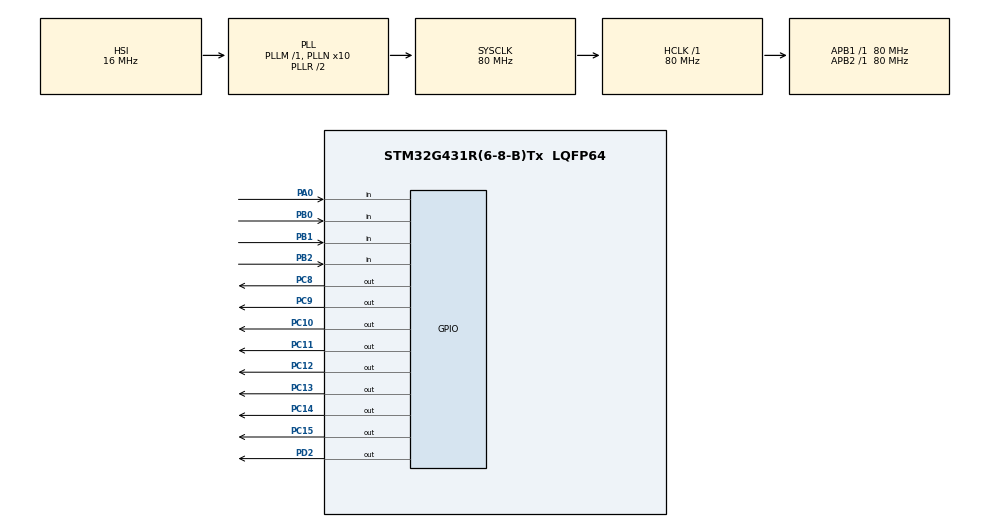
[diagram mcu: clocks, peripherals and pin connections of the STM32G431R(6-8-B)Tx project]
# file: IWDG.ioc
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IWDG.Prescaler=IWDG_PRESCALER_32
IWDG.Reload=4000
IWDG.Window=3000
Mcu.Family=STM32G4
Mcu.Name=STM32G431R(6-8-B)Tx
Mcu.Package=LQFP64
NVIC.PriorityGroup=NVIC_PRIORITYGROUP_4
NVIC.TIM6_DAC_IRQn=true\:0\:0\:false\:false\:true\:true\:true\:true
PA0.Signal=GPIO_Input
PA13.Mode=Serial_Wire
PA13.Signal=SYS_JTMS-SWDIO
PA14.Mode=Serial_Wire
PA14.Signal=SYS_JTCK-SWCLK
PB0.Signal=GPIO_Input
PB1.Signal=GPIO_Input
PB2.Signal=GPIO_Input
PC10.PinState=GPIO_PIN_SET
PC10.Signal=GPIO_Output
PC11.PinState=GPIO_PIN_SET
PC11.Signal=GPIO_Output
PC12.PinState=GPIO_PIN_SET
PC12.Signal=GPIO_Output
PC13.PinState=GPIO_PIN_SET
PC13.Signal=GPIO_Output
PC14-OSC32_IN.PinState=GPIO_PIN_SET
PC14-OSC32_IN.Signal=GPIO_Output
PC15-OSC32_OUT.PinState=GPIO_PIN_SET
PC15-OSC32_OUT.Signal=GPIO_Output
PC8.PinState=GPIO_PIN_SET
PC8.Signal=GPIO_Output
PC9.PinState=GPIO_PIN_SET
PC9.Signal=GPIO_Output
PD2.PinState=GPIO_PIN_RESET
PD2.Signal=GPIO_Output
PF0-OSC_IN.Mode=HSE-External-Oscillator
PF0-OSC_IN.Signal=RCC_OSC_IN
PF1-OSC_OUT.Mode=HSE-External-Oscillator
PF1-OSC_OUT.Signal=RCC_OSC_OUT
ProjectManager.HeapSize=0x200
ProjectManager.StackSize=0x400
ProjectManager.TargetToolchain=MDK-ARM V5.32
RCC.ADC12Freq_Value=80000000
RCC.AHBFreq_Value=80000000
RCC.APB1Freq_Value=80000000
RCC.APB1TimFreq_Value=80000000
RCC.APB2Freq_Value=80000000
RCC.APB2TimFreq_Value=80000000
RCC.CortexFreq_Value=80000000
RCC.EXTERNAL_CLOCK_VALUE=12288000
RCC.HCLKFreq_Value=80000000
RCC.HSE_VALUE=24000000
RCC.HSI48_VALUE=48000000
RCC.HSI_VALUE=16000000
RCC.LSE_VALUE=32768
RCC.PLLN=10
RCC.SYSCLKFreq_VALUE=80000000
RCC.SYSCLKSource=RCC_SYSCLKSOURCE_PLLCLK
RCC.USBFreq_Value=80000000
RCC.VCOOutputFreq_Value=160000000
TIM6.PeriodNoDither=1000
TIM6.Prescaler=80-1
VP_IWDG_VS_IWDG.Mode=IWDG_Activate
VP_SYS_VS_DBSignals.Mode=DisableDeadBatterySignals
VP_TIM6_VS_ClockSourceINT.Mode=Enable_Timer
board=custom

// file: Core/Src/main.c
/* USER CODE BEGIN Header */
/**
  ******************************************************************************
  * @file           : main.c
  * @brief          : Main program body
  ******************************************************************************
  * @attention
  *
  * Copyright (c) 2025 STMicroelectronics.
  * All rights reserved.
  *
  * This software is licensed under terms that can be found in the LICENSE file
  * in the root directory of this software component.
  * If no LICENSE file comes with this software, it is provided AS-IS.
  *
  ******************************************************************************
  */
/* USER CODE END Header */
#include "main.h"
#include "iwdg.h"
#include "tim.h"
#include "gpio.h"
#include "key.h"
#include "led.h"

/* USER CODE BEGIN PV */
uint32_t keytick;
uint16_t time1s=0;
uint8_t reset_led_flag=0;

/* USER CODE END PV */

void SystemClock_Config(void);

/* USER CODE BEGIN 0 */
void Key_Process(void)
{
	if(uwTick-keytick < 20) return;	//û��������
    keytick = uwTick;

    Key_Scan();

	if(trg &0x01)
	{
		LED_Disp(0x08);
	}
	if(trg &0x02)
	{
	HAL_IWDG_Refresh(&hiwdg);

	}

}
/* USER CODE END 0 */

int main(void)
{

  /* MCU Configuration--------------------------------------------------------*/

  /* Reset of all peripherals, Initializes the Flash interface and the Systick. */
  HAL_Init();

  /* Configure the system clock */
  SystemClock_Config();

  /* Initialize all configured peripherals */
  MX_GPIO_Init();
  MX_IWDG_Init();
  MX_TIM6_Init();
  /* USER CODE BEGIN 2 */

	LED_Disp(0x00);
  HAL_TIM_Base_Start_IT(&htim6);   /* ���� */
	LED_Disp(0x80);
  /* USER CODE END 2 */

  /* Infinite loop */
  while (1)
  {
			Key_Process();
  }
}

void SystemClock_Config(void)
{
  RCC_OscInitTypeDef RCC_OscInitStruct = {0};
  RCC_ClkInitTypeDef RCC_ClkInitStruct = {0};

  /** Configure the main internal regulator output voltage
  */
  HAL_PWREx_ControlVoltageScaling(PWR_REGULATOR_VOLTAGE_SCALE1);

  /** Initializes the RCC Oscillators according to the specified parameters
  * in the RCC_OscInitTypeDef structure.
  */
  RCC_OscInitStruct.OscillatorType = RCC_OSCILLATORTYPE_HSI|RCC_OSCILLATORTYPE_LSI;
  RCC_OscInitStruct.HSIState = RCC_HSI_ON;
  RCC_OscInitStruct.HSICalibrationValue = RCC_HSICALIBRATION_DEFAULT;
  RCC_OscInitStruct.LSIState = RCC_LSI_ON;
  RCC_OscInitStruct.PLL.PLLState = RCC_PLL_ON;
  RCC_OscInitStruct.PLL.PLLSource = RCC_PLLSOURCE_HSI;
  RCC_OscInitStruct.PLL.PLLM = RCC_PLLM_DIV1;
  RCC_OscInitStruct.PLL.PLLN = 10;
  RCC_OscInitStruct.PLL.PLLP = RCC_PLLP_DIV2;
  RCC_OscInitStruct.PLL.PLLQ = RCC_PLLQ_DIV2;
  RCC_OscInitStruct.PLL.PLLR = RCC_PLLR_DIV2;
  if (HAL_RCC_OscConfig(&RCC_OscInitStruct) != HAL_OK)
  {
    Error_Handler();
  }

  /** Initializes the CPU, AHB and APB buses clocks
  */
  RCC_ClkInitStruct.ClockType = RCC_CLOCKTYPE_HCLK|RCC_CLOCKTYPE_SYSCLK
                              |RCC_CLOCKTYPE_PCLK1|RCC_CLOCKTYPE_PCLK2;
  RCC_ClkInitStruct.SYSCLKSource = RCC_SYSCLKSOURCE_PLLCLK;
  RCC_ClkInitStruct.AHBCLKDivider = RCC_SYSCLK_DIV1;
  RCC_ClkInitStruct.APB1CLKDivider = RCC_HCLK_DIV1;
  RCC_ClkInitStruct.APB2CLKDivider = RCC_HCLK_DIV1;

  if (HAL_RCC_ClockConfig(&RCC_ClkInitStruct, FLASH_LATENCY_2) != HAL_OK)
  {
    Error_Handler();
  }
}

/* USER CODE BEGIN 4 */
void HAL_TIM_PeriodElapsedCallback(TIM_HandleTypeDef *htim)
{

    if (htim == &htim6)
    {
				time1s++;
			if(time1s==1000 && reset_led_flag==0)
			{
					HAL_GPIO_WritePin(GPIOC, GPIO_PIN_15, GPIO_PIN_SET);
					HAL_GPIO_WritePin(GPIOD, GPIO_PIN_2, GPIO_PIN_SET);
					HAL_GPIO_WritePin(GPIOD, GPIO_PIN_2, GPIO_PIN_RESET);
				reset_led_flag=1;
			}
			if(reset_led_flag==1)
				time1s=0;
    }
}
/* USER CODE END 4 */

void Error_Handler(void)
{
  __disable_irq();
  while (1)
  {
  }
}
